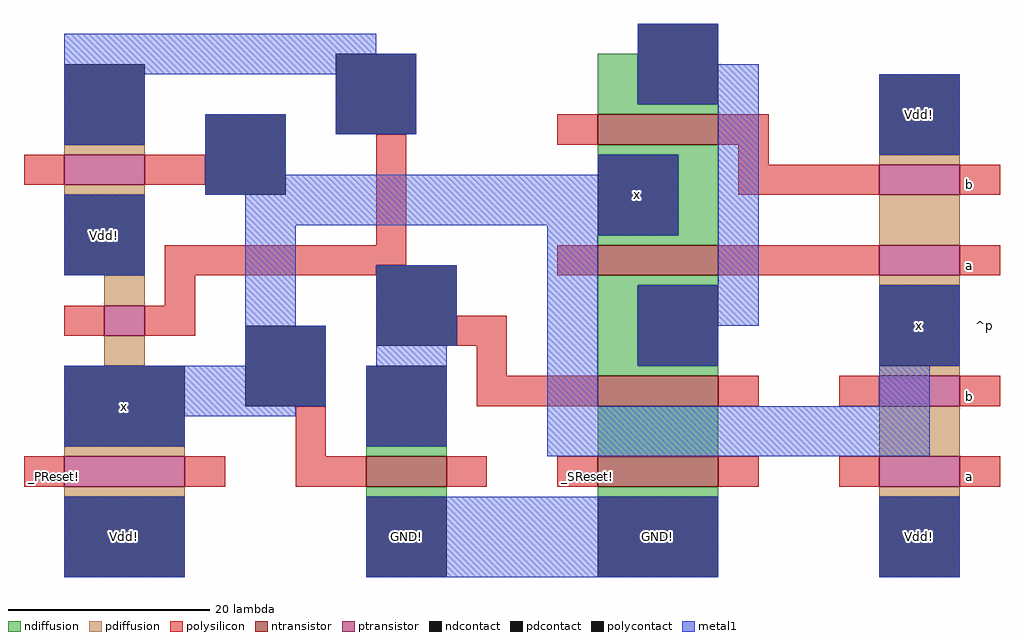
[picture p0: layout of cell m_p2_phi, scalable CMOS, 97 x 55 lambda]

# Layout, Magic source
magic
tech scmos
<< ndiffusion >>
rect 49 11 53 16
rect 49 10 61 11
rect 49 6 61 7
rect 57 -2 61 6
rect 49 -3 61 -2
rect 49 -7 61 -6
rect 49 -15 53 -7
rect 49 -16 61 -15
rect 26 -24 34 -23
rect 49 -24 61 -19
rect 26 -28 34 -27
rect 49 -28 61 -27
<< pdiffusion >>
rect -4 6 4 7
rect -4 2 4 3
rect 77 5 85 6
rect 77 -3 85 2
rect 0 -9 4 -6
rect 0 -15 4 -12
rect -4 -24 8 -23
rect 77 -7 85 -6
rect 77 -16 85 -15
rect 77 -24 85 -19
rect -4 -28 8 -27
rect 77 -28 85 -27
<< ntransistor >>
rect 49 7 61 10
rect 49 -6 61 -3
rect 49 -19 61 -16
rect 26 -27 34 -24
rect 49 -27 61 -24
<< ptransistor >>
rect -4 3 4 6
rect 77 2 85 5
rect 0 -12 4 -9
rect 77 -6 85 -3
rect 77 -19 85 -16
rect -4 -27 8 -24
rect 77 -27 85 -24
<< polysilicon >>
rect -8 3 -4 6
rect 4 3 10 6
rect 27 -3 30 8
rect 45 7 49 10
rect 61 7 66 10
rect 63 5 66 7
rect 63 2 77 5
rect 85 2 89 5
rect 6 -5 30 -3
rect 6 -6 27 -5
rect 6 -9 9 -6
rect -4 -12 0 -9
rect 4 -12 9 -9
rect 45 -6 49 -3
rect 61 -6 77 -3
rect 85 -6 89 -3
rect 35 -13 40 -10
rect 19 -24 22 -19
rect 37 -16 40 -13
rect 37 -19 49 -16
rect 61 -19 65 -16
rect 73 -19 77 -16
rect 85 -19 89 -16
rect -8 -27 -4 -24
rect 8 -27 12 -24
rect 19 -27 26 -24
rect 34 -27 38 -24
rect 45 -27 49 -24
rect 61 -27 65 -24
rect 73 -27 77 -24
rect 85 -27 89 -24
<< ndcontact >>
rect 53 11 61 19
rect 49 -2 57 6
rect 26 -23 34 -15
rect 53 -15 61 -7
rect 26 -36 34 -28
rect 49 -36 61 -28
<< pdcontact >>
rect -4 7 4 15
rect -4 -6 4 2
rect 77 6 85 14
rect -4 -23 8 -15
rect 77 -15 85 -7
rect -4 -36 8 -28
rect 77 -36 85 -28
<< polycontact >>
rect 10 2 18 10
rect 23 8 31 16
rect 14 -19 22 -11
rect 27 -13 35 -5
<< metal1 >>
rect -4 16 27 18
rect -4 14 31 16
rect -4 7 4 14
rect 10 4 18 10
rect 23 8 31 14
rect 53 15 61 19
rect 53 11 65 15
rect 49 4 57 6
rect 10 2 57 4
rect -4 -6 4 2
rect 14 -1 57 2
rect 14 -11 19 -1
rect 44 -2 57 -1
rect 14 -15 22 -11
rect 27 -13 35 -5
rect 27 -15 34 -13
rect -4 -19 22 -15
rect -4 -20 19 -19
rect -4 -23 8 -20
rect 26 -23 34 -15
rect 44 -19 49 -2
rect 61 -7 65 11
rect 77 6 85 14
rect 53 -11 65 -7
rect 53 -15 61 -11
rect 77 -15 85 -7
rect 77 -19 82 -15
rect 44 -24 82 -19
rect -4 -36 8 -28
rect 26 -36 61 -28
rect 77 -36 85 -28
<< labels >>
rlabel metal1 55 -32 55 -32 1 GND!
rlabel metal1 81 10 81 10 5 Vdd!
rlabel metal1 81 -32 81 -32 1 Vdd!
rlabel polysilicon 86 -26 86 -26 1 a
rlabel polysilicon 86 -18 86 -18 1 b
rlabel polysilicon 86 -5 86 -5 1 a
rlabel polysilicon 86 3 86 3 1 b
rlabel polysilicon 48 -26 48 -26 1 _SReset!
rlabel metal1 30 -32 30 -32 1 GND!
rlabel metal1 0 -2 0 -2 5 Vdd!
rlabel polysilicon -5 -26 -5 -26 3 _PReset!
rlabel metal1 2 -32 2 -32 1 Vdd!
rlabel space 85 -36 90 14 3 ^p
rlabel metal1 2 -19 2 -19 1 x
rlabel metal1 53 2 53 2 1 x
rlabel metal1 81 -11 81 -11 1 x
<< end >>
